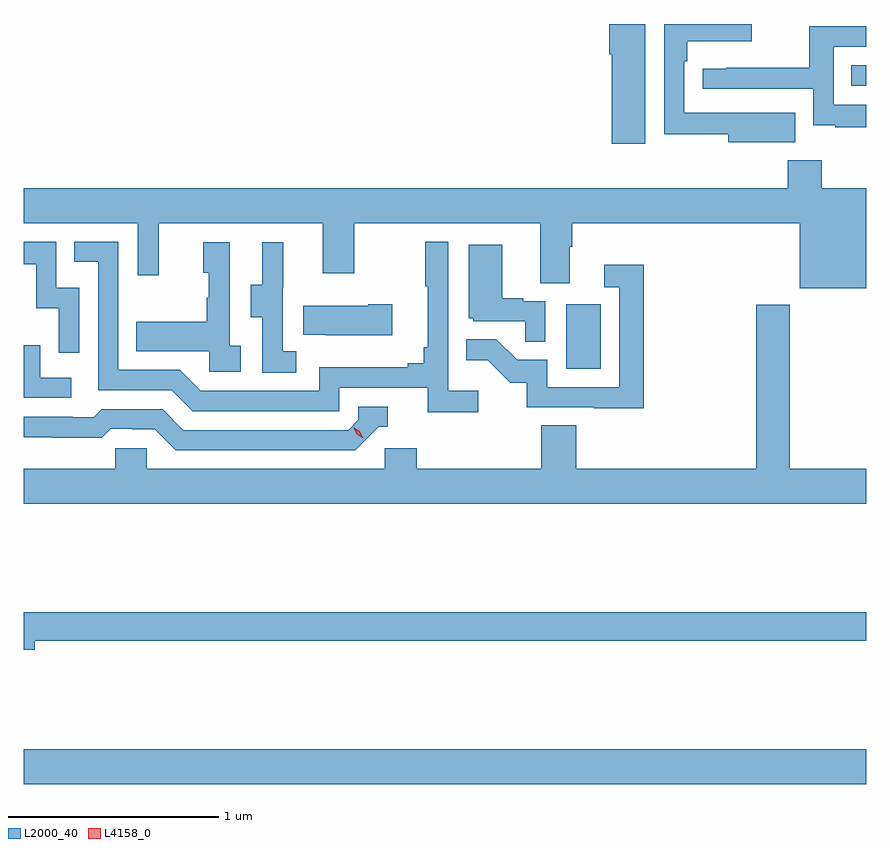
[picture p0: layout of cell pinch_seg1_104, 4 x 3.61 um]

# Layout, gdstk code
import gdstk
lib = gdstk.Library(unit=1e-6, precision=1e-09)
def R(c, l, rs):  # rectangles x0, y0, x1, y1
    for r in rs: c.add(gdstk.rectangle(r[:2], r[2:], *l))
def P(c, l, *ps):  # polygons
    for p in ps: c.add(gdstk.Polygon(p, *l))
L2000_40 = (2000, 40)
L4158_0 = (4158, 0)

pinch_seg1_104 = lib.new_cell('pinch_seg1_104')
R(pinch_seg1_104, L2000_40, [(1022.371,542.408,1026.371,542.572), (1024.946,544.38,1025.11,544.687), (1026.301,545.724,1026.371,545.82)])
P(pinch_seg1_104, L2000_40, [(1025.323,546.017),(1025.15,546.017),(1025.15,545.874),(1025.162,545.874),(1025.162,545.448),(1025.323,545.448)],
  [(1026.035,545.596),(1025.821,545.596),(1025.821,545.595),(1025.508,545.595),(1025.508,545.84),(1025.522,545.84),(1025.522,545.936),(1025.827,545.936),(1025.827,546.017),(1025.412,546.017),(1025.412,545.494),(1025.717,545.494),(1025.717,545.456),(1026.035,545.456)],
  [(1026.371,545.634),(1026.216,545.634),(1026.216,545.91),(1026.371,545.91),(1026.371,546.006),(1026.1,546.006),(1026.1,545.81),(1025.707,545.81),(1025.707,545.805),(1025.595,545.805),(1025.595,545.709),(1026.12,545.709),(1026.12,545.537),(1026.223,545.537),(1026.223,545.526),(1026.371,545.526)],
  [(1022.371,545.072),(1022.913,545.072),(1022.913,544.824),(1023.011,544.824),(1023.011,545.072),(1023.791,545.072),(1023.791,544.833),(1023.939,544.833),(1023.939,545.072),(1024.823,545.072),(1024.823,544.786),(1024.963,544.786),(1024.963,544.96),(1024.976,544.96),(1024.976,545.072),(1026.056,545.072),(1026.056,544.763),(1026.371,544.763),(1026.371,545.236),(1026.159,545.236),(1026.159,545.371),(1025.999,545.371),(1025.999,545.236),(1022.371,545.236)],
  [(1024.528,544.276),(1024.386,544.276),(1024.386,544.984),(1024.278,544.984),(1024.278,544.771),(1024.289,544.771),(1024.289,544.483),(1024.27,544.483),(1024.27,544.406),(1024.193,544.406),(1024.193,544.387),(1023.774,544.387),(1023.774,544.275),(1023.21,544.275),(1023.111,544.374),(1022.82,544.374),(1022.82,544.983),(1022.611,544.983),(1022.611,544.887),(1022.724,544.887),(1022.724,544.278),(1023.074,544.278),(1023.173,544.179),(1023.87,544.179),(1023.87,544.29),(1024.289,544.29),(1024.289,544.174),(1024.528,544.174)],
  [(1022.634,544.764),(1022.526,544.764),(1022.526,544.983),(1022.371,544.983),(1022.371,544.875),(1022.429,544.875),(1022.429,544.667),(1022.538,544.667),(1022.538,544.455),(1022.634,544.455)],
  [(1023.664,544.463),(1023.6,544.463),(1023.6,544.767),(1023.602,544.767),(1023.602,544.981),(1023.503,544.981),(1023.503,544.779),(1023.449,544.779),(1023.449,544.624),(1023.504,544.624),(1023.504,544.36),(1023.664,544.36)],
  [(1023.4,544.49),(1023.348,544.49),(1023.348,544.981),(1023.224,544.981),(1023.224,544.836),(1023.25,544.836),(1023.25,544.718),(1023.24,544.718),(1023.24,544.603),(1022.905,544.603),(1022.905,544.463),(1023.252,544.463),(1023.252,544.365),(1023.4,544.365)],
  [(1024.848,544.701),(1024.742,544.701),(1024.742,544.714),(1024.642,544.714),(1024.642,544.969),(1024.484,544.969),(1024.484,544.62),(1024.506,544.62),(1024.506,544.605),(1024.753,544.605),(1024.753,544.507),(1024.848,544.507)],
  [(1025.315,544.873),(1025.127,544.873),(1025.127,544.767),(1025.199,544.767),(1025.199,544.293),(1024.857,544.293),(1024.857,544.422),(1024.713,544.422),(1024.615,544.52),(1024.471,544.52),(1024.471,544.421),(1024.575,544.421),(1024.682,544.314),(1024.759,544.314),(1024.759,544.197),(1025.077,544.197),(1025.077,544.192),(1025.315,544.192)],
  [(1024.12,544.686),(1024.007,544.686),(1024.007,544.678),(1023.697,544.678),(1023.697,544.541),(1023.805,544.541),(1023.805,544.538),(1024.12,544.538)],
  [(1026.371,543.904),(1026.009,543.904),(1026.009,544.684),(1025.849,544.684),(1025.849,543.904),(1024.994,543.904),(1024.994,544.112),(1024.829,544.112),(1024.829,543.904),(1024.238,543.904),(1024.238,544.002),(1024.086,544.002),(1024.086,543.904),(1022.955,543.904),(1022.955,544.002),(1022.805,544.002),(1022.805,543.904),(1022.371,543.904),(1022.371,543.74),(1026.371,543.74)],
  [(1022.596,544.338),(1022.448,544.338),(1022.448,544.492),(1022.371,544.492),(1022.371,544.242),(1022.596,544.242)],
  [(1024.056,544.104),(1024.099,544.104),(1024.099,544.2),(1023.96,544.2),(1023.96,544.137),(1023.912,544.089),(1023.129,544.089),(1023.03,544.188),(1022.741,544.188),(1022.702,544.149),(1022.603,544.149),(1022.603,544.152),(1022.371,544.152),(1022.371,544.055),(1022.508,544.055),(1022.508,544.053),(1022.741,544.053),(1022.783,544.095),(1022.886,544.095),(1022.886,544.092),(1022.993,544.092),(1023.092,543.993),(1023.945,543.993)],
  [(1022.422,543.088),(1026.371,543.088),(1026.371,543.224),(1022.371,543.224),(1022.371,543.046),(1022.422,543.046)])
P(pinch_seg1_104, L4158_0, [(1023.982,544.05),(1023.951,544.07),(1023.935,544.102),(1023.935,544.103),(1023.935,544.103),(1023.966,544.083),(1023.982,544.05),(1023.982,544.05)])

lib.write_gds('pinch_seg1_104.gds')
